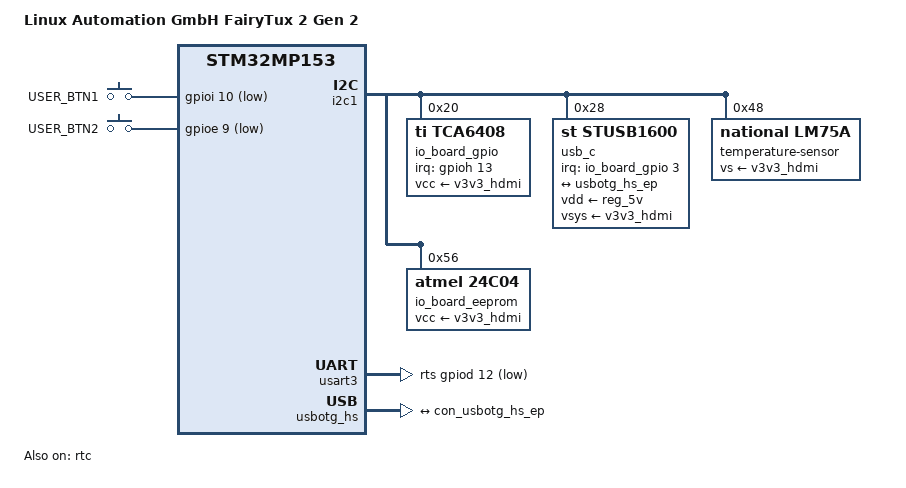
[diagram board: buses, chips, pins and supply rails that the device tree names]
// SPDX-License-Identifier: (GPL-2.0-or-later OR BSD-3-Clause)
/*
 * Copyright (C) 2024 Leonard Göhrs, Pengutronix
 */

/dts-v1/;

#include "stm32mp153c-lxa-fairytux2.dtsi"

/ {
	model = "Linux Automation GmbH FairyTux 2 Gen 2";
	compatible = "lxa,stm32mp153c-fairytux2-gen2", "oct,stm32mp153x-osd32", "st,stm32mp153";

	gpio-keys {
		compatible = "gpio-keys";

		button-left {
			label = "USER_BTN1";
			linux,code = <KEY_ESC>;
			gpios = <&gpioi 10 (GPIO_ACTIVE_LOW | GPIO_PULL_UP)>;
		};

		button-right {
			label = "USER_BTN2";
			linux,code = <KEY_HOME>;
			gpios = <&gpioe 9 (GPIO_ACTIVE_LOW | GPIO_PULL_UP)>;
		};
	};
};

&gpiof {
	gpio-line-names = "", "", "", "", "",				/*  0 */
			  "", "", "", "", "",				/*  5 */
			  "", "", "", "", "",				/* 10 */
			  "";						/* 15 */
};

&gpioh {
	gpio-line-names = "", "", "", "", "LCD_RESET",			/*  0 */
			  "", "", "", "", "",				/*  5 */
			  "", "", "GPIO1", "GPIO_INT", "",		/* 10 */
			  "";						/* 15 */
};

&gpioi {
	gpio-line-names = "GPIO2", "", "", "", "",			/*  0 */
			  "", "", "", "ETH_", "",			/*  5 */
			  "", "USER_BTN1";				/* 10 */
};

&i2c1 {
	pinctrl-names = "default", "sleep";
	pinctrl-0 = <&i2c1_pins_b>;
	pinctrl-1 = <&i2c1_sleep_pins_b>;
	status = "okay";

	io_board_gpio: gpio@20 {
		compatible = "ti,tca6408";
		reg = <0x20>;
		gpio-controller;
		#gpio-cells = <2>;
		interrupt-parent = <&gpioh>;
		interrupts = <13 IRQ_TYPE_LEVEL_LOW>;
		interrupt-controller;
		pinctrl-names = "default";
		pinctrl-0 = <&board_tca6408_pins>;
		#interrupt-cells = <2>;
		vcc-supply = <&v3v3_hdmi>;
		gpio-line-names = "LED1_GA_YK", "LED2_GA_YK", "LED1_GK_YA", "USB_CC_ALERT",
				  "RS485_EN", "RS485_120R", "USB_CC_RESET", "CAN_120R";
	};

	usb_c: typec@28 {
		compatible = "st,stusb1600";
		reg = <0x28>;
		interrupt-parent = <&io_board_gpio>;
		interrupts = <3 IRQ_TYPE_EDGE_FALLING>;
		vdd-supply = <&reg_5v>;
		vsys-supply = <&v3v3_hdmi>;

		connector {
			compatible = "usb-c-connector";
			label = "USB-C";
			power-role = "dual";
			typec-power-opmode = "default";

			port {
				con_usbotg_hs_ep: endpoint {
					remote-endpoint = <&usbotg_hs_ep>;
				};
			};
		};
	};

	temperature-sensor@48 {
		compatible = "national,lm75a";
		reg = <0x48>;
		/*
		 * The sensor itself is powered by a voltage divider from the
		 * always-on 5V supply.
		 * The required pull-up resistors however are on v3v3_hdmi.
		 */
		vs-supply = <&v3v3_hdmi>;
	};

	io_board_eeprom: eeprom@56 {
		compatible = "atmel,24c04";
		reg = <0x56>;
		vcc-supply = <&v3v3_hdmi>;
	};
};

&rtc {
	status = "okay";
};

&led_controller_io {
	led-2 {
		color = <LED_COLOR_ID_ORANGE>;
		function = LED_FUNCTION_ACTIVITY;
		gpios = <&io_board_gpio 1 GPIO_ACTIVE_LOW>;
	};
};

&usart3 {
	rts-gpios = <&gpiod 12 GPIO_ACTIVE_LOW>;
	cts-gpios = <&gpiod 11 GPIO_ACTIVE_LOW>;
};

&usbotg_hs {
	usb-role-switch;

	port {
		usbotg_hs_ep: endpoint {
			remote-endpoint = <&con_usbotg_hs_ep>;
		};
	};
};

&pinctrl {
	board_tca6408_pins: stusb1600-0 {
		pins {
			pinmux = <STM32_PINMUX('H', 13, GPIO)>;
			bias-pull-up;
		};
	};
};
